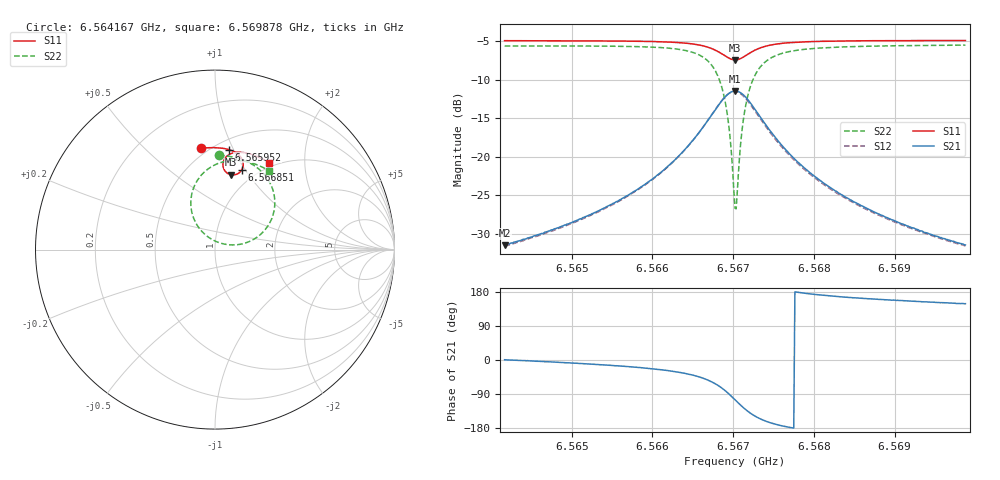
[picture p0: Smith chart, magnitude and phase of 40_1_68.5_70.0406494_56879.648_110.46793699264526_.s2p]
#  HZ  S  RI  R  50.00
! Rohde & Schwarz Vector Network Analyzer
! Rohde-Schwarz,ZNB20-2Port,1311601062101988,3.16
! Created: UTC 3/20/2024, 5:05:32 PM
! freq[Hz]  re:S11  im:S11  re:S21  im:S21  re:S12  im:S12  re:S22  im:S22
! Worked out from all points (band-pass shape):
!   401 points, 6.564167 GHz to 6.569878 GHz, reference 50 ohm
!   highest |S21| = -11.44 dB at 6.567022 GHz (marker M1); lowest = -31.5 dB at 6.564167 GHz (marker M2)
!   |S21| within 3 dB of the highest: 6.566742 GHz to 6.56731 GHz (568.1 kHz wide, 0.00865 % of centre)
!   lowest |S11| = -7.4 dB at 6.567022 GHz (marker M3), VSWR 2.49, Z = 40.8 + j41.6 ohm
!   |S11| at or under -10 dB: nowhere
!   |S22| runs from -26.8 to -5.5 dB; largest |S21 - S12| = 0.012
!   S11 on the Smith chart (normalised r, x): 6.564167 GHz: 0.46, +0.76; 6.565952 GHz: 0.59, +0.96; 6.566851 GHz: 0.85, +0.97; 6.569878 GHz: 0.93, +1.34
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6.5641673e9  -0.0773 0.5637  0.0266 0.000325  0.0262 -9.93e-05  0.0215 0.5246
6.5651238e9  0.000378 0.568  0.0391 -0.00646  0.0386 -0.00705  0.1098 0.5137
6.5659517e9  0.0755 0.5576  0.0638 -0.026  0.0628 -0.0266  0.211 0.4728
6.5660802e9  0.0886 0.5533  0.07 -0.0327  0.0691 -0.0335  0.2317 0.4588
6.5663943e9  0.1237 0.5352  0.0904 -0.0632  0.0889 -0.0645  0.29 0.3986
6.5666084e9  0.148 0.5082  0.1037 -0.1099  0.1015 -0.1121  0.3285 0.3084
6.5667512e9  0.1572 0.4759  0.0979 -0.1663  0.0939 -0.1692  0.3254 0.2009
6.5668511e9  0.15 0.4455  0.0678 -0.2182  0.061 -0.2211  0.2731 0.1035
6.5668939e9  0.1405 0.4328  0.0435 -0.2393  0.0349 -0.2412  0.2284 0.0651
6.5669368e9  0.1266 0.4225  0.0108 -0.2555  0.000923 -0.2558  0.1694 0.0369
6.5669653e9  0.1152 0.4181  -0.0143 -0.2616  -0.0251 -0.2603  0.1238 0.0272
6.5670081e9  0.0963 0.4161  -0.0551 -0.2616  -0.066 -0.2575  0.0514 0.0308
6.5670224e9  0.0899 0.417  -0.0687 -0.259  -0.0794 -0.2537  0.0276 0.037
6.567051e9  0.0775 0.4209  -0.0949 -0.2495  -0.1047 -0.2424  -0.017 0.0566
6.5671081e9  0.0577 0.4358  -0.1374 -0.2174  -0.1445 -0.2079  -0.0869 0.1179
6.5671509e9  0.0487 0.4508  -0.1584 -0.1873  -0.1627 -0.1768  -0.1184 0.1735
6.567208e9  0.0441 0.4716  -0.1717 -0.1464  -0.1731 -0.1364  -0.1345 0.2462
6.5672794e9  0.0479 0.4939  -0.1716 -0.1026  -0.1707 -0.0942  -0.1264 0.3221
6.5675363e9  0.0872 0.5339  -0.1286 -0.0221  -0.1258 -0.0185  -0.029 0.456
6.5679789e9  0.1459 0.5422  -0.0762 0.0083  -0.0744 0.00935  0.0931 0.4968
6.5689353e9  0.2327 0.5196  -0.0368 0.0145  -0.036 0.0148  0.2229 0.4769
6.5698775e9  0.301 0.4851  -0.0228 0.0139  -0.0221 0.014  0.3023 0.4383
